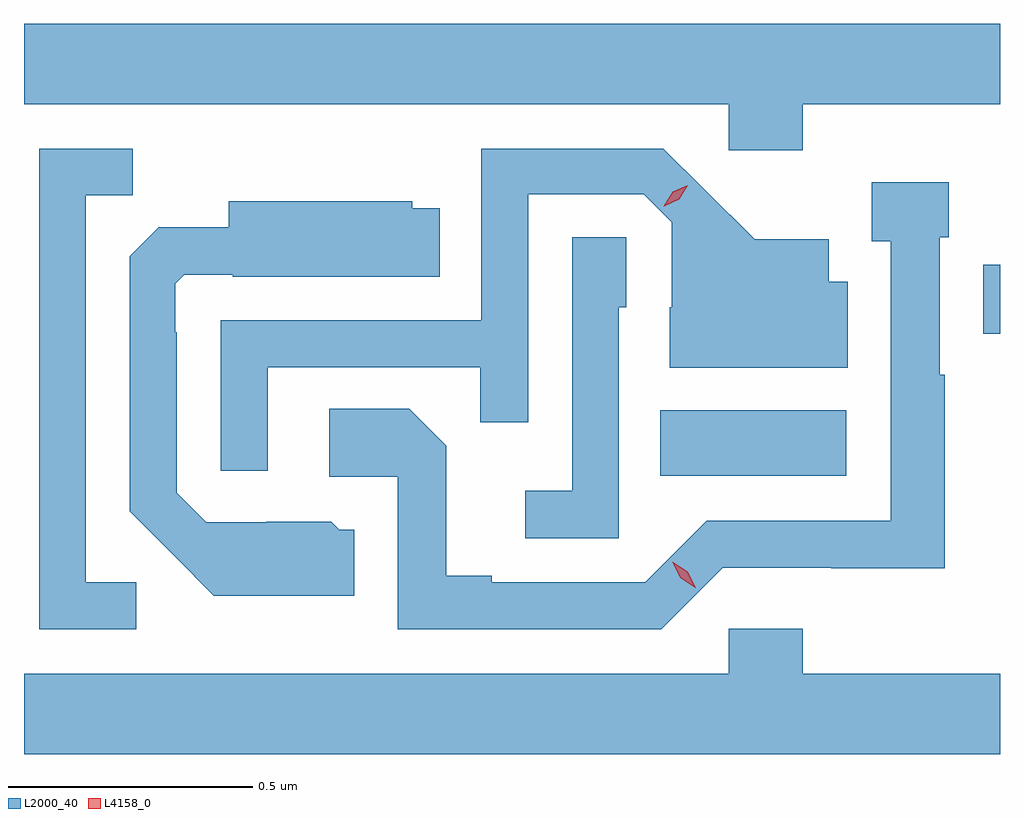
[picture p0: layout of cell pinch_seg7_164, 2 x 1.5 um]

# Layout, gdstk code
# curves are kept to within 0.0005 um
import gdstk
lib = gdstk.Library(unit=1e-6, precision=1e-09)
def R(c, l, rs):  # rectangles x0, y0, x1, y1
    for r in rs: c.add(gdstk.rectangle(r[:2], r[2:], *l))
def P(c, l, *ps):  # polygons
    for p in ps: c.add(gdstk.Polygon(p, *l))
L2000_40 = (2000, 40)
L4158_0 = (4158, 0)

pinch_seg7_164 = lib.new_cell('pinch_seg7_164')
R(pinch_seg7_164, L2000_40, [(1032.25,1011.842,1032.631,1011.976), (1032.912,1012.133,1032.946,1012.275)])
P(pinch_seg7_164, L2000_40, [(1032.542,1012.604),(1032.946,1012.604),(1032.946,1012.768),(1030.946,1012.768),(1030.946,1012.604),(1032.39,1012.604),(1032.39,1012.509),(1032.542,1012.509)],
  [(1031.176,1011.624),(1031.073,1011.624),(1031.073,1012.417),(1031.169,1012.417),(1031.169,1012.512),(1030.977,1012.512),(1030.977,1011.528),(1031.176,1011.528)],
  [(1031.445,1012.065),(1031.881,1012.065),(1031.881,1011.952),(1031.979,1011.952),(1031.979,1012.419),(1032.216,1012.419),(1032.273,1012.362),(1032.273,1012.188),(1032.269,1012.188),(1032.269,1012.064),(1032.634,1012.064),(1032.634,1012.24),(1032.595,1012.24),(1032.595,1012.327),(1032.443,1012.327),(1032.256,1012.512),(1031.883,1012.512),(1031.883,1012.161),(1031.349,1012.161),(1031.349,1011.852),(1031.445,1011.852)],
  [(1032.378,1011.654),(1032.6,1011.654),(1032.6,1011.653),(1032.833,1011.653),(1032.833,1012.049),(1032.823,1012.049),(1032.823,1012.331),(1032.841,1012.331),(1032.841,1012.444),(1032.683,1012.444),(1032.683,1012.323),(1032.722,1012.323),(1032.722,1011.75),(1032.345,1011.75),(1032.219,1011.624),(1031.905,1011.624),(1031.905,1011.637),(1031.811,1011.637),(1031.811,1011.904),(1031.735,1011.98),(1031.571,1011.98),(1031.571,1011.84),(1031.712,1011.84),(1031.712,1011.528),(1032.252,1011.528)],
  [(1031.623,1011.732),(1031.592,1011.732),(1031.576,1011.748),(1031.442,1011.748),(1031.442,1011.747),(1031.319,1011.747),(1031.259,1011.807),(1031.259,1012.136),(1031.256,1012.136),(1031.256,1012.236),(1031.274,1012.254),(1031.374,1012.254),(1031.374,1012.25),(1031.798,1012.25),(1031.798,1012.39),(1031.742,1012.39),(1031.742,1012.405),(1031.366,1012.405),(1031.366,1012.351),(1031.222,1012.351),(1031.163,1012.292),(1031.163,1011.77),(1031.335,1011.596),(1031.623,1011.596)],
  [(1032.165,1012.188),(1032.18,1012.188),(1032.18,1012.331),(1032.069,1012.331),(1032.069,1011.811),(1031.973,1011.811),(1031.973,1011.714),(1032.165,1011.714)],
  [(1032.946,1011.436),(1032.542,1011.436),(1032.542,1011.529),(1032.39,1011.529),(1032.39,1011.436),(1030.946,1011.436),(1030.946,1011.272),(1032.946,1011.272)])
P(pinch_seg7_164, L4158_0, [(1032.322,1011.613),(1032.291,1011.633),(1032.274,1011.666),(1032.274,1011.666),(1032.274,1011.666),(1032.306,1011.646),(1032.323,1011.613),(1032.323,1011.613)],
  [(1032.257,1012.394),(1032.257,1012.394),(1032.275,1012.424),(1032.306,1012.438),(1032.306,1012.438),(1032.306,1012.438),(1032.289,1012.409),(1032.258,1012.394)])

lib.write_gds('pinch_seg7_164.gds')
